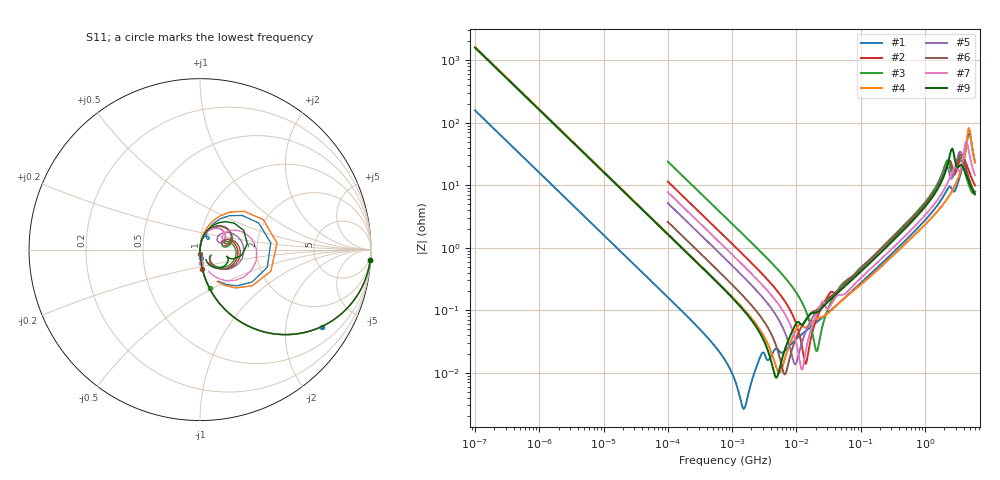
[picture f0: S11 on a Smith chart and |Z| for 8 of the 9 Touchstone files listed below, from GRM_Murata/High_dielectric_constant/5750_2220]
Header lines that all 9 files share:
!These Parameters are Measured in Series Mode Connection
!Data Generated on Mar 30, 2021
!  o--ll--o
!Port1  Port2
!  o------o
!Operation Temp=25[degC], DC Bias Voltage=0[V]
# Hz S RI R 50
!Freq.(Hz) S11(Real) S11(Imag) S21(Real) S21(Imag) S12(Real) S12(Imag) S22(Real) S22(Imag)
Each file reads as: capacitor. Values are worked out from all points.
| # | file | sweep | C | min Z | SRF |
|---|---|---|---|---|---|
| 1 | GRM55DB11E106KA01.s2p | 100 Hz to 6 GHz | 10.1 uF | 2.62 mohm | 1.539 MHz |
| 2 | GRM55DR7LW154KW01.s2p | 100 kHz to 6 GHz | 139 nF | 13.9 mohm | 13.95 MHz |
| 3 | GRM55DR7LX683KW01.s2p | 100 kHz to 6 GHz | 66.5 nF | 22.1 mohm | 20.68 MHz |
| 4 | GRM55DR72A105KA01.s2p | 100 Hz to 6 GHz | 971 nF | 10.1 mohm | 5.517 MHz |
| 5 | GRM55DR72E334KW01.s2p | 100 kHz to 6 GHz | 306 nF | 13.6 mohm | 9.614 MHz |
| 6 | GRM55DR72E684KW01.s2p | 100 kHz to 6 GHz | 613 nF | 9.4 mohm | 6.611 MHz |
| 7 | GRM55DR72J224KW01.s2p | 100 kHz to 6 GHz | 205 nF | 11.2 mohm | 12.24 MHz |
| 8 | GRM55ER11H475KA01.s2p | 100 Hz to 6 GHz | 4.71 uF | 4.14 mohm | 4.008 GHz |
| 9 | GRM55RR11H105KA01.s2p | 100 Hz to 6 GHz | 999 nF | 8.29 mohm | 4.917 MHz |
